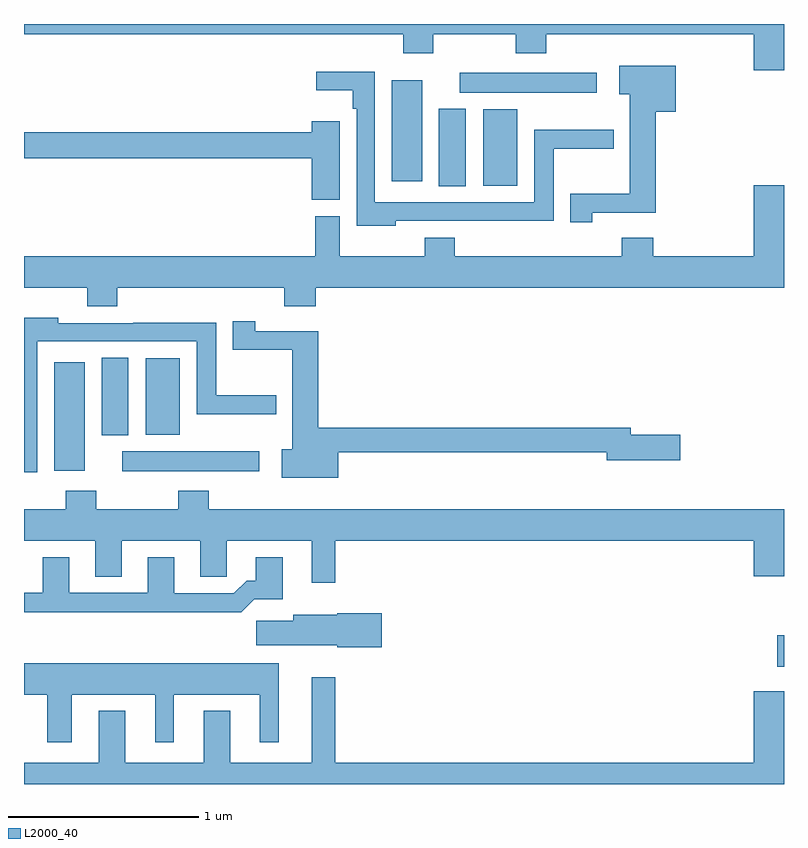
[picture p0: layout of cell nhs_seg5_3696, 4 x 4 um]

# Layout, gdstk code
import gdstk
lib = gdstk.Library(unit=1e-6, precision=1e-09)
def R(c, l, rs):  # rectangles x0, y0, x1, y1
    for r in rs: c.add(gdstk.rectangle(r[:2], r[2:], *l))
def P(c, l, *ps):  # polygons
    for p in ps: c.add(gdstk.Polygon(p, *l))
L2000_40 = (2000, 40)

nhs_seg5_3696 = lib.new_cell('nhs_seg5_3696')
R(nhs_seg5_3696, L2000_40, [(332.964,869.417,333,869.583), (329.517,870.446,330.238,870.55), (329.159,870.447,329.32,871.018), (329.408,870.635,329.548,871.043), (329.642,870.638,329.821,871.039), (331.184,871.945,331.324,872.353), (331.418,871.949,331.597,872.35), (330.935,871.971,331.096,872.503), (331.293,872.438,332.014,872.542)])
P(nhs_seg5_3696, L2000_40, [(333,872.799),(329,872.799),(329,872.744),(330.995,872.744),(330.995,872.645),(331.155,872.645),(331.155,872.744),(331.588,872.744),(331.588,872.645),(331.748,872.645),(331.748,872.744),(332.84,872.744),(332.84,872.556),(333,872.556)],
  [(331.992,871.805),(332.324,871.805),(332.324,872.336),(332.431,872.336),(332.431,872.578),(332.133,872.578),(332.133,872.429),(332.189,872.429),(332.189,871.905),(331.874,871.905),(331.874,871.755),(331.992,871.755)],
  [(330.957,871.764),(331.351,871.764),(331.351,871.763),(331.789,871.763),(331.789,872.143),(332.104,872.143),(332.104,872.243),(331.685,872.243),(331.685,871.86),(330.846,871.86),(330.846,872.549),(330.537,872.549),(330.537,872.45),(330.73,872.45),(330.73,872.354),(330.75,872.354),(330.75,871.736),(330.957,871.736)],
  [(330.661,872.287),(330.515,872.287),(330.515,872.228),(329,872.228),(329,872.092),(330.515,872.092),(330.515,871.873),(330.661,871.873)],
  [(329.492,871.412),(330.371,871.412),(330.371,871.313),(330.536,871.313),(330.536,871.412),(333,871.412),(333,871.951),(332.84,871.951),(332.84,871.576),(332.312,871.576),(332.312,871.675),(332.147,871.675),(332.147,871.576),(331.268,871.576),(331.268,871.675),(331.108,871.675),(331.108,871.576),(330.661,871.576),(330.661,871.788),(330.533,871.788),(330.533,871.576),(329,871.576),(329,871.412),(329.332,871.412),(329.332,871.313),(329.492,871.313)],
  [(329.07,871.128),(329.909,871.128),(329.909,870.746),(330.328,870.746),(330.328,870.846),(330.013,870.846),(330.013,871.226),(329.575,871.226),(329.575,871.224),(329.181,871.224),(329.181,871.252),(329,871.252),(329,870.44),(329.07,870.44)],
  [(330.655,870.546),(332.066,870.546),(332.066,870.503),(332.455,870.503),(332.455,870.638),(332.194,870.638),(332.194,870.674),(330.548,870.674),(330.548,871.183),(330.216,871.183),(330.216,871.234),(330.098,871.234),(330.098,871.084),(330.413,871.084),(330.413,870.56),(330.357,870.56),(330.357,870.41),(330.655,870.41)],
  [(329.927,869.89),(330.066,869.89),(330.066,870.08),(330.515,870.08),(330.515,869.859),(330.637,869.859),(330.637,870.08),(332.84,870.08),(332.84,869.892),(333,869.892),(333,870.244),(329.972,870.244),(329.972,870.343),(329.812,870.343),(329.812,870.244),(329.379,870.244),(329.379,870.343),(329.219,870.343),(329.219,870.244),(329,870.244),(329,870.08),(329.375,870.08),(329.375,869.89),(329.515,869.89),(329.515,870.08),(329.927,870.08)],
  [(330.212,869.771),(330.361,869.771),(330.361,869.992),(330.221,869.992),(330.221,869.869),(330.172,869.869),(330.105,869.802),(329.791,869.802),(329.791,869.992),(329.651,869.992),(329.651,869.805),(329.239,869.805),(329.239,869.992),(329.099,869.992),(329.099,869.805),(329,869.805),(329,869.704),(329.887,869.704),(329.887,869.702),(330.143,869.702)],
  [(330.883,869.697),(330.648,869.697),(330.648,869.689),(330.416,869.689),(330.416,869.657),(330.222,869.657),(330.222,869.528),(330.648,869.528),(330.648,869.519),(330.883,869.519)],
  [(329.251,869.27),(329.69,869.27),(329.69,869.019),(329.788,869.019),(329.788,869.27),(330.242,869.27),(330.242,869.019),(330.34,869.019),(330.34,869.434),(329,869.434),(329,869.27),(329.123,869.27),(329.123,869.019),(329.251,869.019)],
  [(333,869.287),(332.84,869.287),(332.84,868.912),(330.637,868.912),(330.637,869.362),(330.515,869.362),(330.515,868.912),(330.085,868.912),(330.085,869.185),(329.945,869.185),(329.945,868.912),(329.533,868.912),(329.533,869.185),(329.393,869.185),(329.393,868.912),(329,868.912),(329,868.799),(333,868.799)])

lib.write_gds('nhs_seg5_3696.gds')
